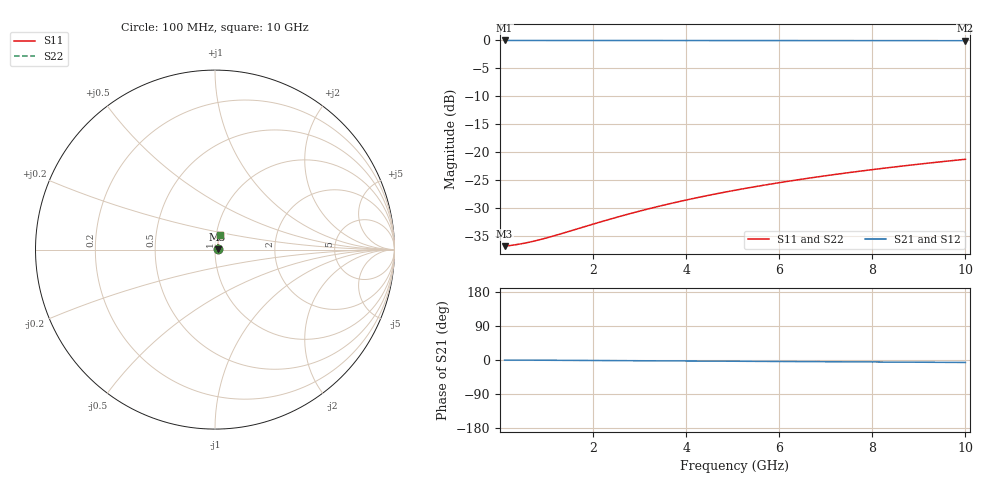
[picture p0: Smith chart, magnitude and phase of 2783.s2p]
# Hz S RI R 50.00
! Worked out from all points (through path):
!   100 points, 100 MHz to 10 GHz, reference 50 ohm
!   highest |S21| = -0.13 dB at 100 MHz (marker M1); lowest = -0.2 dB at 10 GHz (marker M2)
!   lowest |S11| = -36.8 dB at 100 MHz (marker M3), VSWR 1.03, Z = 51.5 + j0.0857 ohm
!   |S11| at or under -10 dB: start of sweep to end of sweep
!   |S22| runs from -36.8 to -21.3 dB; largest |S21 - S12| = 0
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1e8  0.0144 0.000832  0.9856 -0.00112  0.9856 -0.00112  0.0144 0.000832
4e8  0.0146 0.00333  0.9854 -0.00447  0.9854 -0.00447  0.0146 0.00333
6e8  0.0147 0.00499  0.9853 -0.00671  0.9853 -0.00671  0.0147 0.00499
8e8  0.0148 0.00665  0.9852 -0.00894  0.9852 -0.00894  0.0148 0.00665
1e9  0.0149 0.00832  0.9851 -0.0112  0.9851 -0.0112  0.0149 0.00832
1.2e9  0.015 0.00998  0.985 -0.0134  0.985 -0.0134  0.015 0.00998
1.8e9  0.0153 0.015  0.9847 -0.0201  0.9847 -0.0201  0.0153 0.015
2.2e9  0.0155 0.0183  0.9845 -0.0246  0.9845 -0.0246  0.0155 0.0183
2.6e9  0.0158 0.0216  0.9842 -0.029  0.9842 -0.029  0.0158 0.0216
3e9  0.016 0.0249  0.9839 -0.0335  0.9839 -0.0335  0.016 0.0249
3.4e9  0.0163 0.0282  0.9836 -0.0379  0.9836 -0.0379  0.0163 0.0282
3.8e9  0.0166 0.0315  0.9833 -0.0424  0.9833 -0.0424  0.0166 0.0315
4.2e9  0.017 0.0348  0.983 -0.0468  0.983 -0.0468  0.017 0.0348
4.6e9  0.0173 0.0381  0.9826 -0.0513  0.9826 -0.0513  0.0173 0.0381
5.1e9  0.0178 0.0422  0.9821 -0.0568  0.9821 -0.0568  0.0178 0.0422
5.5e9  0.0183 0.0455  0.9816 -0.0613  0.9816 -0.0613  0.0183 0.0455
5.9e9  0.0187 0.0488  0.9811 -0.0657  0.9811 -0.0657  0.0187 0.0488
6.7e9  0.0197 0.0554  0.9801 -0.0745  0.9801 -0.0745  0.0197 0.0554
7.5e9  0.0208 0.0619  0.9789 -0.0834  0.9789 -0.0834  0.0208 0.0619
8.4e9  0.0222 0.0692  0.9774 -0.0933  0.9774 -0.0933  0.0222 0.0692
9.2e9  0.0236 0.0757  0.976 -0.102  0.976 -0.102  0.0236 0.0757
1e10  0.0251 0.0821  0.9745 -0.1108  0.9745 -0.1108  0.0251 0.0821
